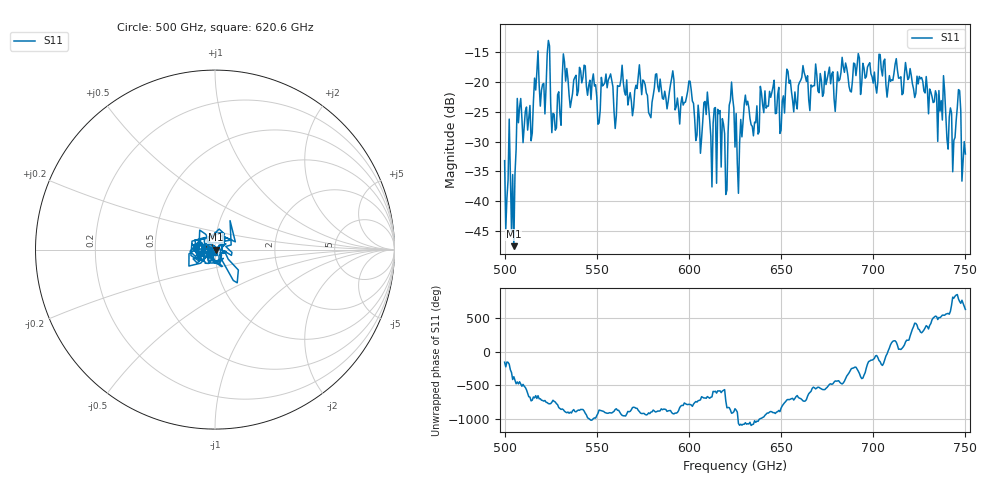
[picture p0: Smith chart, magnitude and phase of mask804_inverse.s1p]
!Created with skrf (http://scikit-rf.org).
# GHz S MA R 50.0
!freq magS11 angS11
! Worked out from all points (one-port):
!   401 points, 500 GHz to 750 GHz, reference 50 ohm
!   lowest |S11| = -47.5 dB at 505 GHz (marker M1), VSWR 1.01, Z = 50.4 - j0.1 ohm
!   |S11| at or under -10 dB: start of sweep to end of sweep
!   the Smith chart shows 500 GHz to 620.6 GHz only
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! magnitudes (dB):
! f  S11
! 500 GHz  -33.2
! 505 GHz  -47.5
! 508.1 GHz  -24.2
! 513.8 GHz  -24.0
! 516.9 GHz  -21.4
! 523.8 GHz  -13.1
! 526.9 GHz  -25.4
! 531.2 GHz  -19.2
! 542.5 GHz  -19.2
! 550.6 GHz  -27.1
! 562.5 GHz  -20.7
! 578.8 GHz  -25.6
! 590.6 GHz  -19.4
! 593.8 GHz  -22.7
! 600.6 GHz  -19.9
! 605 GHz  -23.9
! 609.4 GHz  -25.5
! 620 GHz  -38.9
! 623.1 GHz  -20.0
! 625 GHz  -30.9
! 627.5 GHz  -30.2
! 631.2 GHz  -23.9
! 656.2 GHz  -23.1
! 687.5 GHz  -21.5
! 718.8 GHz  -19.6
! 743.8 GHz  -29.8
! 746.2 GHz  -21.3
! 750 GHz  -32.1
